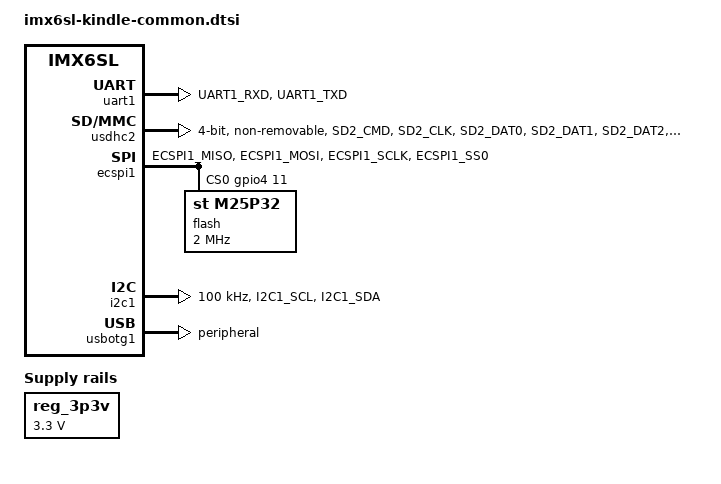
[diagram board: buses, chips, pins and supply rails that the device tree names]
// SPDX-License-Identifier: GPL-2.0-or-later
/*
 * Copyright (C) 2025 Alexander Kurz <akurz@blala.de>
 */

/dts-v1/;

#include <dt-bindings/gpio/gpio.h>
#include <dt-bindings/input/input.h>
#include <arm/nxp/imx/imx6sl.dtsi>

/ {
	chosen {
		stdout-path = &uart1;
	};

	reg_3p3v: regulator-3p3v {
		compatible = "regulator-fixed";
		regulator-name = "3P3V";
		regulator-min-microvolt = <3300000>;
		regulator-max-microvolt = <3300000>;
		regulator-always-on;
	};
};

&iomuxc {
	pinctrl-names = "default";
	pinctrl-0 = <&pinctrl_hog>;

	imx6sl-kindle {
		pinctrl_uart1: uart1grp {
			fsl,pins = <
				MX6SL_PAD_UART1_RXD__UART1_RX_DATA	0x1b0b1
				MX6SL_PAD_UART1_TXD__UART1_TX_DATA	0x1b0b1
			>;
		};

		pinctrl_usdhc2: usdhc2grp {
			fsl,pins = <
				MX6SL_PAD_SD2_CMD__SD2_CMD		0x17059
				MX6SL_PAD_SD2_CLK__SD2_CLK		0x10059
				MX6SL_PAD_SD2_DAT0__SD2_DATA0		0x17059
				MX6SL_PAD_SD2_DAT1__SD2_DATA1		0x17059
				MX6SL_PAD_SD2_DAT2__SD2_DATA2		0x17059
				MX6SL_PAD_SD2_DAT3__SD2_DATA3		0x17059
			>;
		};

		pinctrl_usdhc2_100mhz: usdhc2grp100mhz {
			fsl,pins = <
				MX6SL_PAD_SD2_CMD__SD2_CMD		0x170b9
				MX6SL_PAD_SD2_CLK__SD2_CLK		0x100b9
				MX6SL_PAD_SD2_DAT0__SD2_DATA0		0x170b9
				MX6SL_PAD_SD2_DAT1__SD2_DATA1		0x170b9
				MX6SL_PAD_SD2_DAT2__SD2_DATA2		0x170b9
				MX6SL_PAD_SD2_DAT3__SD2_DATA3		0x170b9
			>;
		};

		pinctrl_usdhc2_200mhz: usdhc2grp200mhz {
			fsl,pins = <
				MX6SL_PAD_SD2_CMD__SD2_CMD		0x170f9
				MX6SL_PAD_SD2_CLK__SD2_CLK		0x100f9
				MX6SL_PAD_SD2_DAT0__SD2_DATA0		0x170f9
				MX6SL_PAD_SD2_DAT1__SD2_DATA1		0x170f9
				MX6SL_PAD_SD2_DAT2__SD2_DATA2		0x170f9
				MX6SL_PAD_SD2_DAT3__SD2_DATA3		0x170f9
			>;
		};

		pinctrl_ecspi1: ecspi1grp {
			fsl,pins = <
				MX6SL_PAD_ECSPI1_MISO__ECSPI1_MISO	0x400100b1
				MX6SL_PAD_ECSPI1_MOSI__ECSPI1_MOSI	0x400100b1
				MX6SL_PAD_ECSPI1_SCLK__ECSPI1_SCLK	0x400100b1
				MX6SL_PAD_ECSPI1_SS0__GPIO4_IO11	0x80000000
			>;
		};

		pinctrl_i2c1: i2c1grp {
			fsl,pins = <
				MX6SL_PAD_I2C1_SCL__I2C1_SCL		0x4001b8b1
				MX6SL_PAD_I2C1_SDA__I2C1_SDA		0x4001b8b1
			>;
		};
	};
};

&uart1 {
	pinctrl-names = "default";
	pinctrl-0 = <&pinctrl_uart1>;
	status = "okay";
};

&usdhc2 {
	pinctrl-names = "default", "state_100mhz", "state_200mhz";
	pinctrl-0 = <&pinctrl_usdhc2>;
	pinctrl-1 = <&pinctrl_usdhc2_100mhz>;
	pinctrl-2 = <&pinctrl_usdhc2_200mhz>;
	non-removable;
	keep-power-in-suspend;
	enable-sdio-wakeup;
	bus-width = <4>;
	fsl,delay-line;
	status = "okay";

	partitions {
		compatible = "barebox,fixed-partitions";
		#address-cells = <1>;
		#size-cells = <1>;

		kernel: kernel@41000 {
			label = "kernel";
			reg = <0x41000 0xe00000>;
		};
	};

	partitions-boot1 {
		compatible = "barebox,fixed-partitions";
		#address-cells = <1>;
		#size-cells = <1>;

		imx_header: imx_header@400 {
			label = "imx_header";
			reg = <0x400 0x800>;
		};

		self: self@1000 {
			label = "self";
			reg = <0x1000 0x4d000>;
		};

		userdata: userdata@5e000 {
			label = "userdata";
			reg = <0x5e000 0x1400>;
		};
	};
};

&ecspi1 {
	fsl,spi-num-chipselects = <1>;
	cs-gpios = <&gpio4 11 0>;
	pinctrl-names = "default";
	pinctrl-0 = <&pinctrl_ecspi1>;
	status = "okay";

	flash: m25p80@0 {
		#address-cells = <1>;
		#size-cells = <1>;
		compatible = "st,m25p32", "jedec,spi-nor";
		spi-max-frequency = <2000000>;
		reg = <0>;
	};
};

&i2c1 {
	clock-frequency = <100000>;
	pinctrl-names = "default";
	pinctrl-0 = <&pinctrl_i2c1>;
	status = "okay";
};

&usbotg1 {
	phy_type = "utmi";
	dr_mode = "peripheral";
	status = "okay";
};
